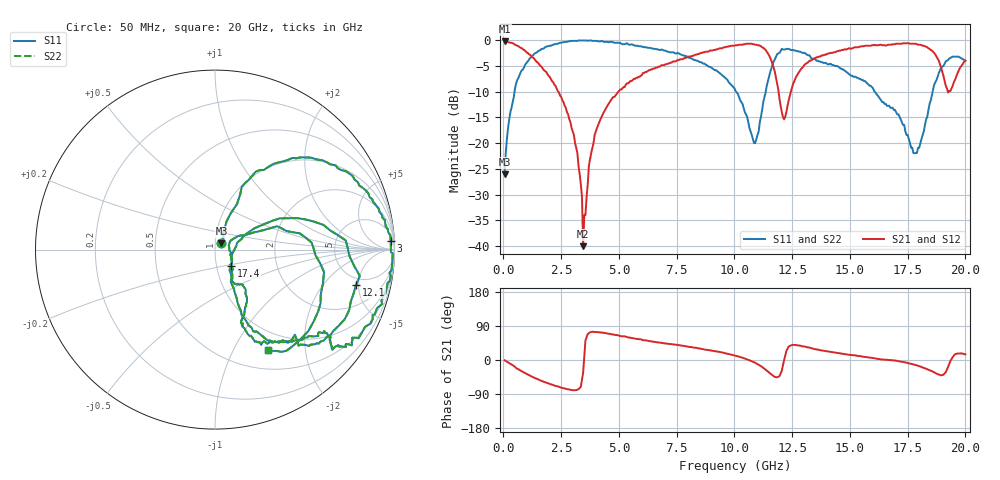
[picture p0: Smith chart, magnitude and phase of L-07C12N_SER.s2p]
#	mhz	s	ma	r	50
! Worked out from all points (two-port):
!   400 points, 50 MHz to 20 GHz, reference 50 ohm
!   highest |S21| = -0.26 dB at 50 MHz (marker M1); lowest = -40.0 dB at 3.45 GHz (marker M2)
!   |S21| within 3 dB of the highest: 7.984 GHz to 11.53 GHz (3.545 GHz wide, 36.3 % of centre); 13.63 GHz to 18.76 GHz (5.122 GHz wide, 31.6 % of centre)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
!   lowest |S11| = -26.0 dB at 50 MHz (marker M3), VSWR 1.11, Z = 53.6 + j3.74 ohm
!   |S11| at or under -10 dB: start of sweep to 481.3 MHz; 10.07 GHz to 11.36 GHz (1.288 GHz wide, 12 % of centre); 16.07 GHz to 18.58 GHz (2.515 GHz wide, 14.5 % of centre)
!   |S22| runs from -26.0 to -0.1 dB; largest |S21 - S12| = 0
!   S11 on the Smith chart (normalised r, x): 50 MHz: 1.07, +0.07; 3 GHz: 14, +35; 12.1 GHz: 4.05, -4.65; 17.4 GHz: 1.18, -0.22; 20 GHz: 0.75, -1.38
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50  0.05 44.1  0.97 -0.7  0.97 -0.7  0.05 44.1
250  0.17 67.6  0.95 -8.1  0.95 -8.1  0.17 67.6
750  0.49 62.4  0.84 -28.4  0.84 -28.4  0.49 62.4
1500  0.78 39.6  0.6 -51.1  0.6 -51.1  0.78 39.6
3000  0.98 2.8  0.13 -79.6  0.13 -79.6  0.98 2.8
3400  0.99 -3.7  0.03 -52.0  0.03 -52.0  0.99 -3.7
3450  0.99 -4.6  0.01 -33.4  0.01 -33.4  0.99 -4.6
3700  0.99 -8.5  0.06 70.9  0.06 70.9  0.99 -8.5
4150  0.97 -16.3  0.16 72.9  0.16 72.9  0.97 -16.3
6700  0.81 -37.7  0.55 46.3  0.55 46.3  0.81 -37.7
10050  0.32 -67.0  0.89 11.3  0.89 11.3  0.32 -67.0
10900  0.1 -11.7  0.9 -7.3  0.9 -7.3  0.1 -11.7
11600  0.53 18.5  0.63 -38.1  0.63 -38.1  0.53 18.5
12100  0.81 -14.1  0.18 -14.5  0.18 -14.5  0.81 -14.1
12650  0.79 -40.0  0.43 39.7  0.43 39.7  0.79 -40.0
13350  0.65 -46.8  0.64 30.9  0.64 30.9  0.65 -46.8
16700  0.23 -57.7  0.9 0.0  0.9 0.0  0.23 -57.7
17400  0.13 -46.0  0.93 -6.3  0.93 -6.3  0.13 -46.0
17900  0.08 16.7  0.91 -14.3  0.91 -14.3  0.08 16.7
18650  0.37 20.6  0.75 -32.4  0.75 -32.4  0.37 20.6
19250  0.64 -23.0  0.31 -18.7  0.31 -18.7  0.64 -23.0
20000  0.63 -62.1  0.63 15.1  0.63 15.1  0.63 -62.1
